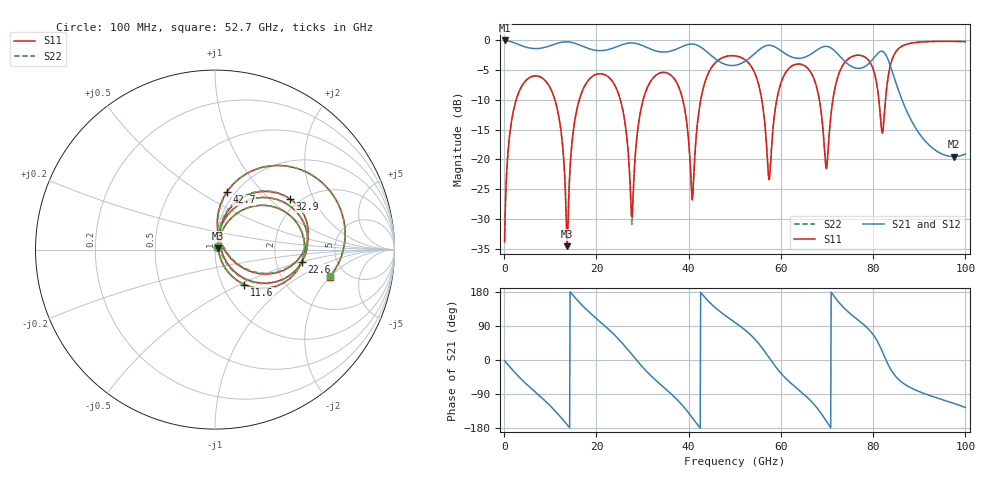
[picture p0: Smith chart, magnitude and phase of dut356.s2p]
! Touchstone file exported from HFSS 2026.1.0
!  File:  C:/ffzhzh/LocalFiles/Ansys_Project_Files/temp_train_TSV_RDL_356_1783709548_45164.aedt
!  Generated:  02:59:56 AM Jul 11, 2026
!  Design:  TSV_RDL
!  Project:  temp_train_TSV_RDL_356_1783709548_45164
! Variables:
!  h_bsmrdl = 3.95um
!  h_ox = 20um
!  h_rdl = 5um
!  h_sub = 81.21um
!  h_tmrdl = 4.53um
!  h_tsv = 81.21um
!  h_via = 3um
!  l_bsmrdl = 515.82um
!  l_sub = 4112.43um
!  l_tmrdl = 506.66um
!  m_sub = 200um
!  pitch = 56.1um
!  r_tsv = 13.99um
!  s_tmrdl = 10um
!  w_bsmrdl = 25.83um
!  w_sub = 500um
!  w_tmrdl = 20.28um
!  x_tsv_center1 = 516.8um
!  x_tsv_center2 = 1058.45um
!  x_tsv_center3 = 1585.39um
!  x_tsv_center4 = 2127.04um
!  x_tsv_center5 = 2653.98um
!  x_tsv_center6 = 3195.63um
# GHz S MA R 50.000000
! Terminal data exported
! Port[1] = TM_RDL1_1_T1
! Port[2] = TM_RDL5_1_T1
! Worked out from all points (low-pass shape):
!   1000 points, 100 MHz to 100 GHz, reference 50 ohm
!   highest |S21| = -0.13 dB at 100 MHz (marker M1); lowest = -19.5 dB at 97.5 GHz (marker M2)
!   |S21| within 3 dB of the highest: start of sweep to 45.65 GHz; 53.09 GHz to 73.23 GHz (20.13 GHz wide, 31.9 % of centre) (the widest 2 of 3)
!   lowest |S11| = -34.5 dB at 13.7 GHz (marker M3), VSWR 1.04, Z = 51.8 + j0.726 ohm
!   |S11| at or under -10 dB: 10.98 GHz to 16.3 GHz (5.324 GHz wide, 39 % of centre); 25.18 GHz to 30.15 GHz (4.971 GHz wide, 18 % of centre); 38.72 GHz to 42.63 GHz (3.912 GHz wide, 9.62 % of centre) (the widest 3 of 7)
!   |S22| runs from -34.0 to -0.3 dB; largest |S21 - S12| = 1.8e-13
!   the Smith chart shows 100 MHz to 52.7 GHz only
!   S11 on the Smith chart (normalised r, x): 100 MHz: 1.03, +0.03; 11.6 GHz: 1.27, -0.53; 22.6 GHz: 2.80, -0.51; 32.9 GHz: 1.79, +1.35; 42.7 GHz: 0.92, +0.66; 52.7 GHz: 3.70, -1.98
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0.1  0.02053 44.7  0.9857 -1.5  0.9857 -1.5  0.02053 44.7
! Gamma 0 0 0 0
! Port Impedance 50 0 50 0
3.6  0.3948 37.8  0.8971 -49.2  0.8971 -49.2  0.3948 37.8
11.6  0.2549 -49.9  0.9345 -141.7  0.9345 -141.7  0.255 -49.7
13.7  0.01889 21.8  0.9601 -171.5  0.9601 -171.5  0.01988 20.9
16.8  0.3607 52.4  0.8882 145.8  0.8882 145.8  0.3607 52.1
22.6  0.4885 -8.2  0.8277 81.5  0.8277 81.5  0.4886 -8.4
27.7  0.03322 16.2  0.9406 14.4  0.9406 14.4  0.0288 16.3
32.9  0.5045 33.9  0.8056 -53.8  0.8056 -53.8  0.5042 34.4
33.4  0.5195 28.9  0.7971 -59.2  0.7971 -59.2  0.5192 29.4
38.2  0.3718 -20.0  0.8626 -113.6  0.8626 -113.6  0.3719 -19.3
40.8  0.04595 25.9  0.9205 -152.5  0.9205 -152.5  0.04963 26.2
42.7  0.3268 78.5  0.8634 177.3  0.8634 177.3  0.3273 78.0
50.1  0.7328 8.7  0.6113 98.8  0.6113 98.8  0.7328 8.8
52.7  0.6565 -13.4  0.6795 74.4  0.6795 74.4  0.6565 -13.2
58  0.1307 55.8  0.8928 -3.6  0.8928 -3.6  0.1325 54.7
66.7  0.516 -16.2  0.766 -110.5  0.766 -110.5  0.516 -16.3
69.9  0.08523 23.4  0.8798 -162.1  0.8798 -162.1  0.08381 23.4
74.9  0.7052 30.8  0.6115 123.8  0.6115 123.8  0.705 30.9
80.6  0.4663 -20.8  0.7397 56.1  0.7397 56.1  0.4672 -20.3
83.4  0.5294 55.2  0.6565 -15.7  0.6565 -15.7  0.5308 54.8
97.5  0.9689 -25.4  0.1057 -114.4  0.1057 -114.4  0.9688 -25.5
100  0.9642 -34.7  0.1111 -125.4  0.1111 -125.4  0.964 -34.8
